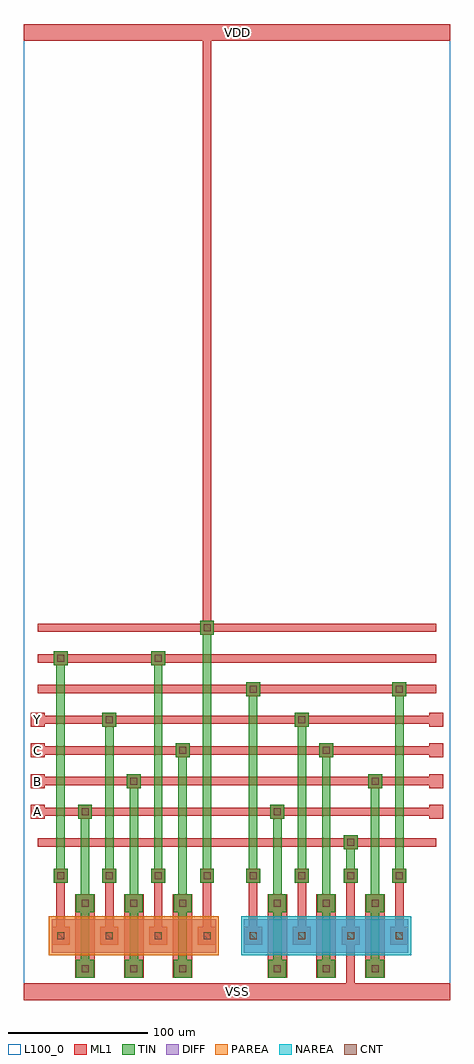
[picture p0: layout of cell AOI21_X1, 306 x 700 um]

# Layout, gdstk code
import gdstk
lib = gdstk.Library(unit=1e-6, precision=1e-09)
def R(c, l, rs):  # rectangles x0, y0, x1, y1
    for r in rs: c.add(gdstk.rectangle(r[:2], r[2:], *l))
def A(c, l, x, y, w, h, nx, ny, dx, dy):  # array of equal rectangles
    R(c, l, [(x+i*dx, y+j*dy, x+i*dx+w, y+j*dy+h) for i in range(nx) for j in range(ny)])
DIFF = (3, 0)
TIN = (5, 0)
CNT = (7, 0)
ML1 = (8, 0)
PAREA = (18, 0)
NAREA = (19, 0)
L100_0 = (100, 0)

aoi21_x1 = lib.new_cell('AOI21_X1')
R(aoi21_x1, DIFF, [(20,34,138,58), (158,34,276,58)])
A(aoi21_x1, TIN, 37.5, 16, 13, 13, 3, 2, 35, 47)
A(aoi21_x1, TIN, 175.5, 16, 13, 13, 3, 2, 35, 47)
A(aoi21_x1, TIN, 41, 28, 6, 37.5, 3, 1, 35, 0)
A(aoi21_x1, TIN, 179, 28, 6, 37.5, 3, 1, 35, 0)
A(aoi21_x1, TIN, 21.5, 84, 10, 10, 4, 1, 35, 0)
A(aoi21_x1, TIN, 159.5, 84, 10, 10, 4, 1, 35, 0)
R(aoi21_x1, TIN, [(41,69.5,47,135), (76,69.5,82,157), (111,69.5,117,179), (179,69.5,185,135), (214,69.5,220,179), (249,69.5,255,157), (23.5,89,29.5,245), (58.5,89,64.5,201), (93.5,89,99.5,245), (128.5,89,134.5,267), (161.5,89,167.5,223), (196.5,89,202.5,201), (231.5,89,237.5,113), (266.5,89,272.5,223), (229.5,108,239.5,118), (39,130,49,140), (177,130,187,140), (74,152,84,162), (247,152,257,162), (109,174,119,184), (212,174,222,184), (56.5,196,66.5,206), (194.5,196,204.5,206), (159.5,218,169.5,228), (264.5,218,274.5,228), (21.5,240,31.5,250), (91.5,240,101.5,250), (126.5,262,136.5,272)])
A(aoi21_x1, CNT, 41.5, 20, 5, 5, 3, 2, 35, 47)
A(aoi21_x1, CNT, 179.5, 20, 5, 5, 3, 2, 35, 47)
A(aoi21_x1, CNT, 24, 43.5, 5, 5, 4, 2, 35, 43)
A(aoi21_x1, CNT, 162, 43.5, 5, 5, 4, 2, 35, 43)
R(aoi21_x1, CNT, [(232,110.5,237,115.5), (41.5,132.5,46.5,137.5), (179.5,132.5,184.5,137.5), (76.5,154.5,81.5,159.5), (249.5,154.5,254.5,159.5), (111.5,176.5,116.5,181.5), (214.5,176.5,219.5,181.5), (59,198.5,64,203.5), (197,198.5,202,203.5), (162,220.5,167,225.5), (267,220.5,272,225.5), (24,242.5,29,247.5), (94,242.5,99,247.5), (129,264.5,134,269.5)])
A(aoi21_x1, ML1, 37, 16, 14, 60, 3, 1, 35, 0)
A(aoi21_x1, ML1, 37.5, 16, 13, 13, 3, 2, 35, 47)
A(aoi21_x1, ML1, 175, 16, 14, 60, 3, 1, 35, 0)
A(aoi21_x1, ML1, 175.5, 16, 13, 13, 3, 2, 35, 47)
A(aoi21_x1, ML1, 20, 39.5, 13, 13, 4, 1, 35, 0)
A(aoi21_x1, ML1, 158, 39.5, 13, 13, 4, 1, 35, 0)
A(aoi21_x1, ML1, 23.5, 46, 6, 43, 4, 1, 35, 0)
A(aoi21_x1, ML1, 161.5, 46, 6, 43, 4, 1, 35, 0)
A(aoi21_x1, ML1, 21.5, 84, 10, 10, 4, 1, 35, 0)
A(aoi21_x1, ML1, 159.5, 84, 10, 10, 4, 1, 35, 0)
A(aoi21_x1, ML1, 10, 110, 286, 6, 1, 8, 0, 22)
A(aoi21_x1, ML1, 5, 130, 10, 10, 1, 4, 0, 22)
A(aoi21_x1, ML1, 291, 130, 10, 10, 1, 4, 0, 22)
R(aoi21_x1, ML1, [(0,0,306,12), (231.5,3,237.5,92), (229.5,108,239.5,118), (39,130,49,140), (177,130,187,140), (74,152,84,162), (247,152,257,162), (109,174,119,184), (212,174,222,184), (56.5,196,66.5,206), (194.5,196,204.5,206), (159.5,218,169.5,228), (264.5,218,274.5,228), (21.5,240,31.5,250), (91.5,240,101.5,250), (126.5,262,136.5,272), (128.5,264,134.5,697), (0,688,306,700)])
R(aoi21_x1, PAREA, [(18,32,140,60)])
R(aoi21_x1, NAREA, [(156,32,278,60)])
R(aoi21_x1, L100_0, [(0,0,306,700)])
aoi21_x1.add(gdstk.Label('A', (10,135), layer=13, texttype=0))
aoi21_x1.add(gdstk.Label('B', (10,157), layer=13, texttype=0))
aoi21_x1.add(gdstk.Label('C', (10,179), layer=13, texttype=0))
aoi21_x1.add(gdstk.Label('Y', (10,201), layer=13, texttype=0))
aoi21_x1.add(gdstk.Label('VDD', (153,694), layer=13, texttype=0))
aoi21_x1.add(gdstk.Label('VSS', (153,6), layer=13, texttype=0))

lib.write_gds('AOI21_X1.gds')
